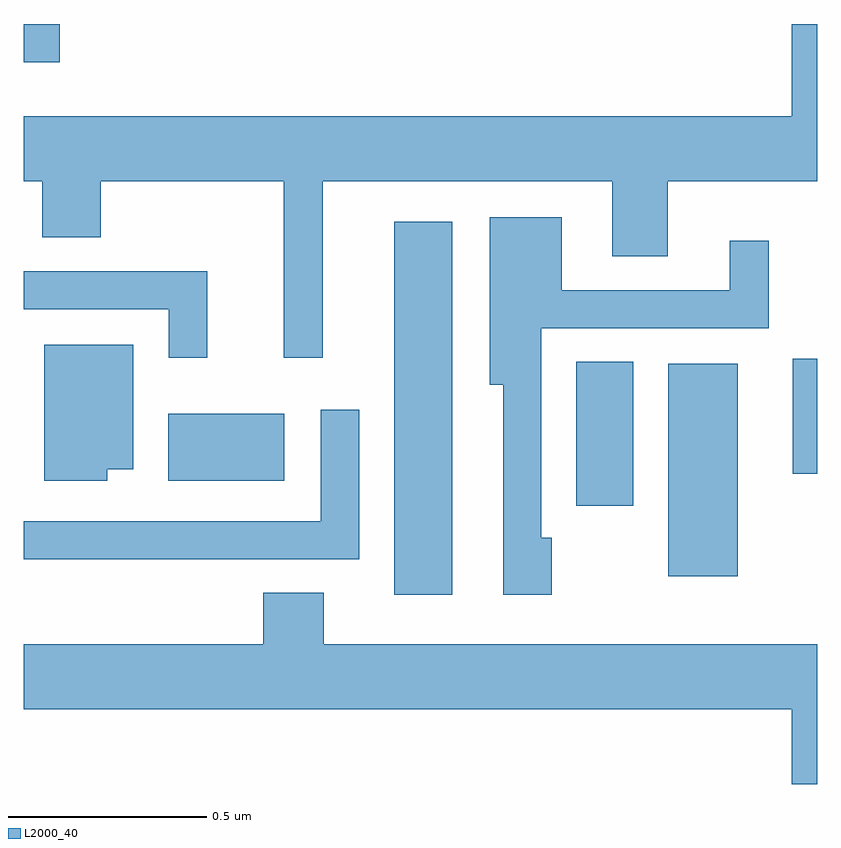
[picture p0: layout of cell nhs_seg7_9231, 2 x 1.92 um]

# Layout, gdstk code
import gdstk
lib = gdstk.Library(unit=1e-6, precision=1e-09)
def R(c, l, rs):  # rectangles x0, y0, x1, y1
    for r in rs: c.add(gdstk.rectangle(r[:2], r[2:], *l))
def P(c, l, *ps):  # polygons
    for p in ps: c.add(gdstk.Polygon(p, *l))
L2000_40 = (2000, 40)

nhs_seg7_9231 = lib.new_cell('nhs_seg7_9231')
R(nhs_seg7_9231, L2000_40, [(235.934,1011.561,236.08,1012.501), (236.624,1011.608,236.8,1012.144), (236.393,1011.786,236.536,1012.148), (235.364,1011.848,235.657,1012.018), (236.939,1011.866,237,1012.156), (235,1012.904,235.09,1013)])
P(nhs_seg7_9231, L2000_40, [(235.754,1012.604),(236.483,1012.604),(236.483,1012.414),(236.623,1012.414),(236.623,1012.604),(237,1012.604),(237,1013),(236.936,1013),(236.936,1012.768),(235,1012.768),(235,1012.604),(235.046,1012.604),(235.046,1012.462),(235.194,1012.462),(235.194,1012.604),(235.655,1012.604),(235.655,1012.158),(235.754,1012.158)],
  [(236.331,1011.705),(236.304,1011.705),(236.304,1012.233),(236.878,1012.233),(236.878,1012.453),(236.78,1012.453),(236.78,1012.329),(236.356,1012.329),(236.356,1012.513),(236.174,1012.513),(236.174,1012.091),(236.208,1012.091),(236.208,1011.561),(236.331,1011.561)],
  [(235.463,1012.377),(235,1012.377),(235,1012.281),(235.365,1012.281),(235.365,1012.158),(235.463,1012.158)],
  [(235.21,1011.878),(235.276,1011.878),(235.276,1012.192),(235.052,1012.192),(235.052,1011.848),(235.21,1011.848)],
  [(235.52,1011.651),(235.845,1011.651),(235.845,1012.027),(235.749,1012.027),(235.749,1011.747),(235,1011.747),(235,1011.65),(235.52,1011.65)],
  [(237,1011.436),(235.756,1011.436),(235.756,1011.566),(235.604,1011.566),(235.604,1011.436),(235,1011.436),(235,1011.272),(236.936,1011.272),(236.936,1011.084),(237,1011.084)])

lib.write_gds('nhs_seg7_9231.gds')
